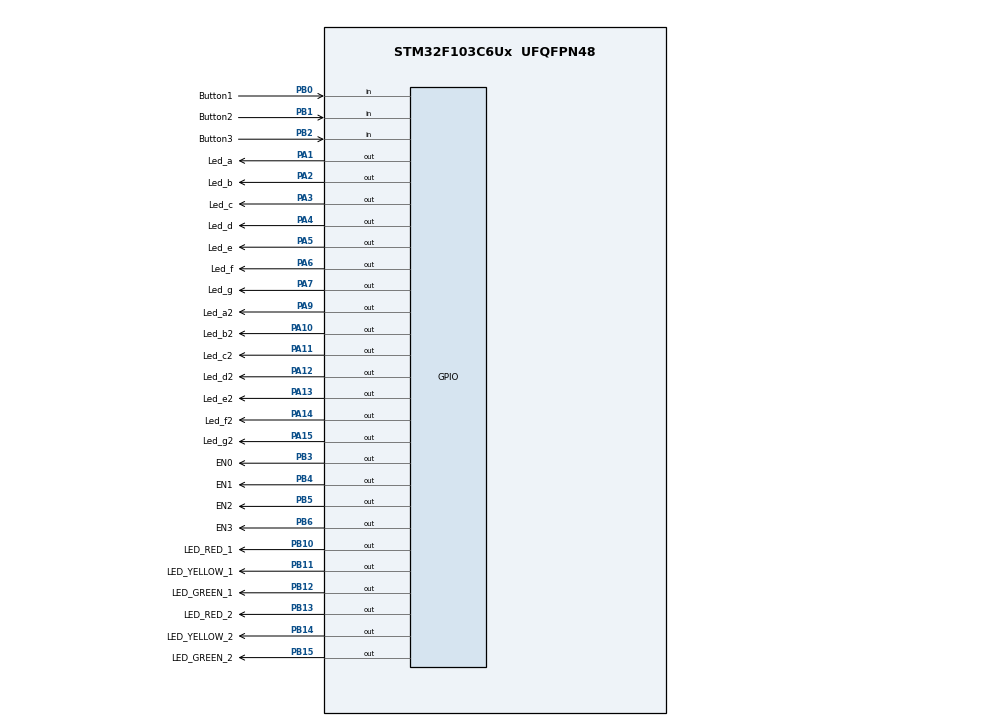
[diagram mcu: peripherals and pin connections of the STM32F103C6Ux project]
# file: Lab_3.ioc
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Mcu.Family=STM32F1
Mcu.Name=STM32F103C6Ux
Mcu.Package=UFQFPN48
NVIC.PriorityGroup=NVIC_PRIORITYGROUP_4
NVIC.TIM2_IRQn=true\:0\:0\:false\:false\:true\:true\:true
PA1.GPIO_Label=Led_a
PA1.Signal=GPIO_Output
PA10.GPIO_Label=Led_b2
PA10.Signal=GPIO_Output
PA11.GPIO_Label=Led_c2
PA11.Signal=GPIO_Output
PA12.GPIO_Label=Led_d2
PA12.Signal=GPIO_Output
PA13.GPIO_Label=Led_e2
PA13.Signal=GPIO_Output
PA14.GPIO_Label=Led_f2
PA14.Signal=GPIO_Output
PA15.GPIO_Label=Led_g2
PA15.Signal=GPIO_Output
PA2.GPIO_Label=Led_b
PA2.Signal=GPIO_Output
PA3.GPIO_Label=Led_c
PA3.Signal=GPIO_Output
PA4.GPIO_Label=Led_d
PA4.Signal=GPIO_Output
PA5.GPIO_Label=Led_e
PA5.Signal=GPIO_Output
PA6.GPIO_Label=Led_f
PA6.Signal=GPIO_Output
PA7.GPIO_Label=Led_g
PA7.Signal=GPIO_Output
PA9.GPIO_Label=Led_a2
PA9.Signal=GPIO_Output
PB0.GPIO_Label=Button1
PB0.GPIO_PuPd=GPIO_PULLUP
PB0.Signal=GPIO_Input
PB1.GPIO_Label=Button2
PB1.GPIO_PuPd=GPIO_PULLUP
PB1.Signal=GPIO_Input
PB10.GPIO_Label=LED_RED_1
PB10.Signal=GPIO_Output
PB11.GPIO_Label=LED_YELLOW_1
PB11.Signal=GPIO_Output
PB12.GPIO_Label=LED_GREEN_1
PB12.Signal=GPIO_Output
PB13.GPIO_Label=LED_RED_2
PB13.Signal=GPIO_Output
PB14.GPIO_Label=LED_YELLOW_2
PB14.Signal=GPIO_Output
PB15.GPIO_Label=LED_GREEN_2
PB15.Signal=GPIO_Output
PB2.GPIO_Label=Button3
PB2.GPIO_PuPd=GPIO_PULLUP
PB2.Signal=GPIO_Input
PB3.GPIO_Label=EN0
PB3.Signal=GPIO_Output
PB4.GPIO_Label=EN1
PB4.Signal=GPIO_Output
PB5.GPIO_Label=EN2
PB5.Signal=GPIO_Output
PB6.GPIO_Label=EN3
PB6.Signal=GPIO_Output
ProjectManager.HeapSize=0x200
ProjectManager.StackSize=0x400
ProjectManager.TargetToolchain=STM32CubeIDE
RCC.APB1Freq_Value=8000000
RCC.APB2Freq_Value=8000000
TIM2.Period=10
TIM2.Prescaler=7999
VP_SYS_VS_ND.Mode=No_Debug
VP_TIM2_VS_ClockSourceINT.Mode=Internal
board=custom

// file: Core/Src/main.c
/* USER CODE BEGIN Header */
/**
  ******************************************************************************
  * @file           : main.c
  * @brief          : Main program body
  ******************************************************************************
  * @attention
  *
  * <h2><center>&copy; Copyright (c) 2023 STMicroelectronics.
  * All rights reserved.</center></h2>
  *
  * This software component is licensed by ST under BSD 3-Clause license,
  * the "License"; You may not use this file except in compliance with the
  * License. You may obtain a copy of the License at:
  *                        opensource.org/licenses/BSD-3-Clause
  *
  ******************************************************************************
  */
/* USER CODE END Header */
#include "main.h"

/* USER CODE BEGIN Includes */
#include "software_timer.h"
#include "global.h"
/* USER CODE END Includes */

TIM_HandleTypeDef htim2;

void SystemClock_Config(void);
static void MX_GPIO_Init(void);
static void MX_TIM2_Init(void);

int main(void)
{

  /* MCU Configuration--------------------------------------------------------*/

  /* Reset of all peripherals, Initializes the Flash interface and the Systick. */
  HAL_Init();

  /* Configure the system clock */
  SystemClock_Config();

  /* Initialize all configured peripherals */
  MX_GPIO_Init();
  MX_TIM2_Init();
  /* USER CODE BEGIN 2 */
  HAL_TIM_Base_Start_IT(&htim2);
  setTimer1(10);
  setTimer2(10);
  setTimer3(10);
  setTimer4(10);
  setTimer5(10);
  setTimer6(10);
  setTimer7(10);
  int index = 0;
  /* USER CODE END 2 */

  /* Infinite loop */
  /* USER CODE BEGIN WHILE */
  while (1)
  {
	  	  fsm();
	  	  fsm_manual_run();
	  	  if(timer7_flag == 1){
	  		  update7SEG(index);
	  		  update7SEG2(index);
	  		  index = 1 - index;
	  		  setTimer7(500);
	  	  }
    /* USER CODE END WHILE */

  }
}

void SystemClock_Config(void)
{
  RCC_OscInitTypeDef RCC_OscInitStruct = {0};
  RCC_ClkInitTypeDef RCC_ClkInitStruct = {0};

  /** Initializes the RCC Oscillators according to the specified parameters
  * in the RCC_OscInitTypeDef structure.
  */
  RCC_OscInitStruct.OscillatorType = RCC_OSCILLATORTYPE_HSI;
  RCC_OscInitStruct.HSIState = RCC_HSI_ON;
  RCC_OscInitStruct.HSICalibrationValue = RCC_HSICALIBRATION_DEFAULT;
  RCC_OscInitStruct.PLL.PLLState = RCC_PLL_NONE;
  if (HAL_RCC_OscConfig(&RCC_OscInitStruct) != HAL_OK)
  {
    Error_Handler();
  }
  /** Initializes the CPU, AHB and APB buses clocks
  */
  RCC_ClkInitStruct.ClockType = RCC_CLOCKTYPE_HCLK|RCC_CLOCKTYPE_SYSCLK
                              |RCC_CLOCKTYPE_PCLK1|RCC_CLOCKTYPE_PCLK2;
  RCC_ClkInitStruct.SYSCLKSource = RCC_SYSCLKSOURCE_HSI;
  RCC_ClkInitStruct.AHBCLKDivider = RCC_SYSCLK_DIV1;
  RCC_ClkInitStruct.APB1CLKDivider = RCC_HCLK_DIV1;
  RCC_ClkInitStruct.APB2CLKDivider = RCC_HCLK_DIV1;

  if (HAL_RCC_ClockConfig(&RCC_ClkInitStruct, FLASH_LATENCY_0) != HAL_OK)
  {
    Error_Handler();
  }
}

static void MX_TIM2_Init(void)
{

  TIM_ClockConfigTypeDef sClockSourceConfig = {0};
  TIM_MasterConfigTypeDef sMasterConfig = {0};

  htim2.Instance = TIM2;
  htim2.Init.Prescaler = 7999;
  htim2.Init.CounterMode = TIM_COUNTERMODE_UP;
  htim2.Init.Period = 10;
  htim2.Init.ClockDivision = TIM_CLOCKDIVISION_DIV1;
  htim2.Init.AutoReloadPreload = TIM_AUTORELOAD_PRELOAD_DISABLE;
  if (HAL_TIM_Base_Init(&htim2) != HAL_OK)
  {
    Error_Handler();
  }
  sClockSourceConfig.ClockSource = TIM_CLOCKSOURCE_INTERNAL;
  if (HAL_TIM_ConfigClockSource(&htim2, &sClockSourceConfig) != HAL_OK)
  {
    Error_Handler();
  }
  sMasterConfig.MasterOutputTrigger = TIM_TRGO_RESET;
  sMasterConfig.MasterSlaveMode = TIM_MASTERSLAVEMODE_DISABLE;
  if (HAL_TIMEx_MasterConfigSynchronization(&htim2, &sMasterConfig) != HAL_OK)
  {
    Error_Handler();
  }

}

static void MX_GPIO_Init(void)
{
  GPIO_InitTypeDef GPIO_InitStruct = {0};

  /* GPIO Ports Clock Enable */
  __HAL_RCC_GPIOA_CLK_ENABLE();
  __HAL_RCC_GPIOB_CLK_ENABLE();

  /*Configure GPIO pin Output Level */
  HAL_GPIO_WritePin(GPIOA, Led_a_Pin|Led_b_Pin|Led_c_Pin|Led_d_Pin
                          |Led_e_Pin|Led_f_Pin|Led_g_Pin|Led_a2_Pin
                          |Led_b2_Pin|Led_c2_Pin|Led_d2_Pin|Led_e2_Pin
                          |Led_f2_Pin|Led_g2_Pin, GPIO_PIN_RESET);

  /*Configure GPIO pin Output Level */
  HAL_GPIO_WritePin(GPIOB, LED_RED_1_Pin|LED_YELLOW_1_Pin|LED_GREEN_1_Pin|LED_RED_2_Pin
                          |LED_YELLOW_2_Pin|LED_GREEN_2_Pin|EN0_Pin|EN1_Pin
                          |EN2_Pin|EN3_Pin, GPIO_PIN_RESET);

  /*Configure GPIO pins : Led_a_Pin Led_b_Pin Led_c_Pin Led_d_Pin
                           Led_e_Pin Led_f_Pin Led_g_Pin Led_a2_Pin
                           Led_b2_Pin Led_c2_Pin Led_d2_Pin Led_e2_Pin
                           Led_f2_Pin Led_g2_Pin */
  GPIO_InitStruct.Pin = Led_a_Pin|Led_b_Pin|Led_c_Pin|Led_d_Pin
                          |Led_e_Pin|Led_f_Pin|Led_g_Pin|Led_a2_Pin
                          |Led_b2_Pin|Led_c2_Pin|Led_d2_Pin|Led_e2_Pin
                          |Led_f2_Pin|Led_g2_Pin;
  GPIO_InitStruct.Mode = GPIO_MODE_OUTPUT_PP;
  GPIO_InitStruct.Pull = GPIO_NOPULL;
  GPIO_InitStruct.Speed = GPIO_SPEED_FREQ_LOW;
  HAL_GPIO_Init(GPIOA, &GPIO_InitStruct);

  /*Configure GPIO pins : Button1_Pin Button2_Pin Button3_Pin */
  GPIO_InitStruct.Pin = Button1_Pin|Button2_Pin|Button3_Pin;
  GPIO_InitStruct.Mode = GPIO_MODE_INPUT;
  GPIO_InitStruct.Pull = GPIO_PULLUP;
  HAL_GPIO_Init(GPIOB, &GPIO_InitStruct);

  /*Configure GPIO pins : LED_RED_1_Pin LED_YELLOW_1_Pin LED_GREEN_1_Pin LED_RED_2_Pin
                           LED_YELLOW_2_Pin LED_GREEN_2_Pin EN0_Pin EN1_Pin
                           EN2_Pin EN3_Pin */
  GPIO_InitStruct.Pin = LED_RED_1_Pin|LED_YELLOW_1_Pin|LED_GREEN_1_Pin|LED_RED_2_Pin
                          |LED_YELLOW_2_Pin|LED_GREEN_2_Pin|EN0_Pin|EN1_Pin
                          |EN2_Pin|EN3_Pin;
  GPIO_InitStruct.Mode = GPIO_MODE_OUTPUT_PP;
  GPIO_InitStruct.Pull = GPIO_NOPULL;
  GPIO_InitStruct.Speed = GPIO_SPEED_FREQ_LOW;
  HAL_GPIO_Init(GPIOB, &GPIO_InitStruct);

}

/* USER CODE BEGIN 4 */
void HAL_TIM_PeriodElapsedCallback ( TIM_HandleTypeDef * htim ){
	timerRun();
	getKeyInput();
}
/* USER CODE END 4 */

void Error_Handler(void)
{
  __disable_irq();
  while (1)
  {
  }
}

/************************ (C) COPYRIGHT STMicroelectronics *****END OF FILE****/
